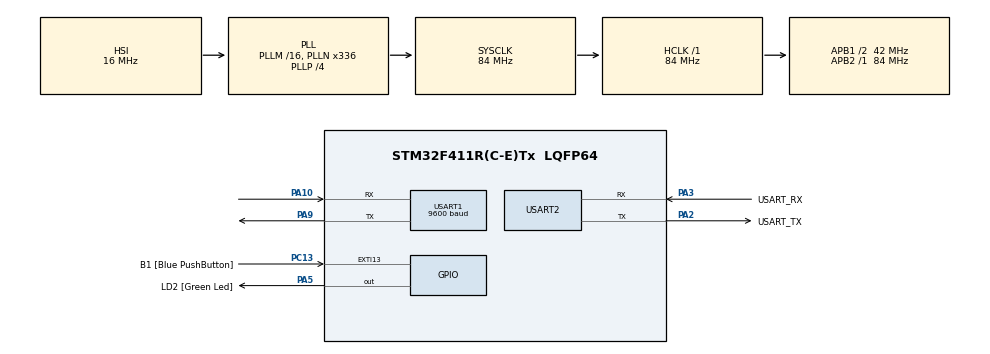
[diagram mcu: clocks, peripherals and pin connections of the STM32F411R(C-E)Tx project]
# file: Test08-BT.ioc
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Mcu.Family=STM32F4
Mcu.Name=STM32F411R(C-E)Tx
Mcu.Package=LQFP64
NVIC.EXTI15_10_IRQn=true\:0\:0\:false\:false\:true\:true\:true\:true
NVIC.PriorityGroup=NVIC_PRIORITYGROUP_0
NVIC.TIM3_IRQn=true\:0\:0\:false\:false\:true\:true\:true\:true
NVIC.USART1_IRQn=true\:0\:0\:false\:false\:true\:true\:true\:true
NVIC.USART2_IRQn=true\:0\:0\:false\:false\:true\:true\:true\:true
PA10.Mode=Asynchronous
PA10.Signal=USART1_RX
PA13.GPIO_Label=TMS
PA13.Mode=Serial_Wire
PA13.Signal=SYS_JTMS-SWDIO
PA14.GPIO_Label=TCK
PA14.Mode=Serial_Wire
PA14.Signal=SYS_JTCK-SWCLK
PA2.GPIO_Label=USART_TX
PA2.Mode=Asynchronous
PA2.Signal=USART2_TX
PA3.GPIO_Label=USART_RX
PA3.Mode=Asynchronous
PA3.Signal=USART2_RX
PA5.GPIO_Label=LD2 [Green Led]
PA5.Signal=GPIO_Output
PA9.Mode=Asynchronous
PA9.Signal=USART1_TX
PB3.GPIO_Label=SWO
PB3.Signal=SYS_JTDO-SWO
PC13-ANTI_TAMP.GPIO_Label=B1 [Blue PushButton]
PC13-ANTI_TAMP.GPIO_ModeDefaultEXTI=GPIO_MODE_IT_FALLING
PC13-ANTI_TAMP.Signal=GPXTI13
PC14-OSC32_IN.Mode=LSE-External-Oscillator
PC14-OSC32_IN.Signal=RCC_OSC32_IN
PC15-OSC32_OUT.Mode=LSE-External-Oscillator
PC15-OSC32_OUT.Signal=RCC_OSC32_OUT
PH0\ -\ OSC_IN.Mode=HSE-External-Clock-Source
PH0\ -\ OSC_IN.Signal=RCC_OSC_IN
PH1\ -\ OSC_OUT.Mode=HSE-External-Clock-Source
PH1\ -\ OSC_OUT.Signal=RCC_OSC_OUT
ProjectManager.HeapSize=0x200
ProjectManager.StackSize=0x400
ProjectManager.TargetToolchain=STM32CubeIDE
RCC.48MHZClocksFreq_Value=84000000
RCC.AHBFreq_Value=84000000
RCC.APB1CLKDivider=RCC_HCLK_DIV2
RCC.APB1Freq_Value=42000000
RCC.APB1TimFreq_Value=84000000
RCC.APB2Freq_Value=84000000
RCC.APB2TimFreq_Value=84000000
RCC.CortexFreq_Value=84000000
RCC.FLatency-AdvancedSettings=FLASH_LATENCY_2
RCC.HCLKFreq_Value=84000000
RCC.HSE_VALUE=8000000
RCC.HSI_VALUE=16000000
RCC.PLLN=336
RCC.PLLP=RCC_PLLP_DIV4
RCC.SYSCLKFreq_VALUE=84000000
RCC.SYSCLKSource=RCC_SYSCLKSOURCE_PLLCLK
RCC.VCOOutputFreq_Value=336000000
TIM3.Period=10000-1
TIM3.Prescaler=8400-1
USART1.BaudRate=9600
USART1.VirtualMode=VM_ASYNC
USART2.VirtualMode=VM_ASYNC
VP_TIM3_VS_ClockSourceINT.Mode=Internal
board=NUCLEO-F411RE

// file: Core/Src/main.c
/* USER CODE BEGIN Header */
/**
  ******************************************************************************
  * @file           : main.c
  * @brief          : Main program body
  ******************************************************************************
  * @attention
  *
  * Copyright (c) 2023 STMicroelectronics.
  * All rights reserved.
  *
  * This software is licensed under terms that can be found in the LICENSE file
  * in the root directory of this software component.
  * If no LICENSE file comes with this software, it is provided AS-IS.
  *
  ******************************************************************************
  */
/* USER CODE END Header */
#include "main.h"

TIM_HandleTypeDef htim3;

UART_HandleTypeDef huart1;
UART_HandleTypeDef huart2;

/* USER CODE BEGIN PV */
#include "..\\..\\..\\Lib\\MyLib.c"

/* USER CODE END PV */

void SystemClock_Config(void);
static void MX_GPIO_Init(void);
static void MX_USART2_UART_Init(void);
static void MX_USART1_UART_Init(void);
static void MX_TIM3_Init(void);

/* USER CODE BEGIN 0 */
char *LE = "";  // "\r\n"  "\n"
char dum1, buf1[256];	// UART1 Input char / buffer
int idx1 = 0;		// UART1 buffer index
char dum2, buf2[256];	// UART2 Input char / buffer
int idx2 = 0;		// UART2 buffer index

void HAL_UART_RxCpltCallback(UART_HandleTypeDef *huart) // Terminal Input Intr
{
	if(huart == &huart2)
	{
		if(dum2 == '\r')  // CR : Enter Key
		{
			HAL_UART_Transmit(&huart1, buf2, idx2, 50);
			HAL_UART_Transmit(&huart1, LE, strlen(LE), 50);
			printf("UART2>%s\r\n", buf2);
			idx2 = 0;
		}
		else
		{
			buf2[idx2++] = dum2; buf2[idx2] = 0;
		}
		HAL_UART_Receive_IT(&huart2, &dum2, 1);
	}
	else if(huart == &huart1)
	{
		buf1[idx1++] = dum1; buf1[idx1] = 0;
		//printf("%c", dum1);  // ?????
		HAL_UART_Receive_IT(&huart1, &dum1, 1);
	}
}
//void HAL_GPIO_EXTI_Callback(uint16_t GPIO_Pin)
void HAL_TIM_PeriodElapsedCallback(TIM_HandleTypeDef *htim)
{
	if(idx1)  // idx1 != 0
	{
		printf("%s\r\n", buf1); idx1 = 0;
	}
}

/* USER CODE END 0 */

int main(void)
{

  /* MCU Configuration--------------------------------------------------------*/

  /* Reset of all peripherals, Initializes the Flash interface and the Systick. */
  HAL_Init();

  /* Configure the system clock */
  SystemClock_Config();

  /* Initialize all configured peripherals */
  MX_GPIO_Init();
  MX_USART2_UART_Init();
  MX_USART1_UART_Init();
  MX_TIM3_Init();
  /* USER CODE BEGIN 2 */

  HAL_UART_Receive_IT(&huart1, &dum1, 1);
  HAL_UART_Receive_IT(&huart2, &dum2, 1);
  HAL_TIM_Base_Start_IT(&htim3);
  printf("Bluetooth Program Started.\r\n");

  /* USER CODE END 2 */

  /* Infinite loop */
  while (1)
  {

  }
}

void SystemClock_Config(void)
{
  RCC_OscInitTypeDef RCC_OscInitStruct = {0};
  RCC_ClkInitTypeDef RCC_ClkInitStruct = {0};

  /** Configure the main internal regulator output voltage
  */
  __HAL_RCC_PWR_CLK_ENABLE();
  __HAL_PWR_VOLTAGESCALING_CONFIG(PWR_REGULATOR_VOLTAGE_SCALE1);

  /** Initializes the RCC Oscillators according to the specified parameters
  * in the RCC_OscInitTypeDef structure.
  */
  RCC_OscInitStruct.OscillatorType = RCC_OSCILLATORTYPE_HSI;
  RCC_OscInitStruct.HSIState = RCC_HSI_ON;
  RCC_OscInitStruct.HSICalibrationValue = RCC_HSICALIBRATION_DEFAULT;
  RCC_OscInitStruct.PLL.PLLState = RCC_PLL_ON;
  RCC_OscInitStruct.PLL.PLLSource = RCC_PLLSOURCE_HSI;
  RCC_OscInitStruct.PLL.PLLM = 16;
  RCC_OscInitStruct.PLL.PLLN = 336;
  RCC_OscInitStruct.PLL.PLLP = RCC_PLLP_DIV4;
  RCC_OscInitStruct.PLL.PLLQ = 4;
  if (HAL_RCC_OscConfig(&RCC_OscInitStruct) != HAL_OK)
  {
    Error_Handler();
  }

  /** Initializes the CPU, AHB and APB buses clocks
  */
  RCC_ClkInitStruct.ClockType = RCC_CLOCKTYPE_HCLK|RCC_CLOCKTYPE_SYSCLK
                              |RCC_CLOCKTYPE_PCLK1|RCC_CLOCKTYPE_PCLK2;
  RCC_ClkInitStruct.SYSCLKSource = RCC_SYSCLKSOURCE_PLLCLK;
  RCC_ClkInitStruct.AHBCLKDivider = RCC_SYSCLK_DIV1;
  RCC_ClkInitStruct.APB1CLKDivider = RCC_HCLK_DIV2;
  RCC_ClkInitStruct.APB2CLKDivider = RCC_HCLK_DIV1;

  if (HAL_RCC_ClockConfig(&RCC_ClkInitStruct, FLASH_LATENCY_2) != HAL_OK)
  {
    Error_Handler();
  }
}

static void MX_TIM3_Init(void)
{

  TIM_ClockConfigTypeDef sClockSourceConfig = {0};
  TIM_MasterConfigTypeDef sMasterConfig = {0};

  htim3.Instance = TIM3;
  htim3.Init.Prescaler = 8400-1;
  htim3.Init.CounterMode = TIM_COUNTERMODE_UP;
  htim3.Init.Period = 10000-1;
  htim3.Init.ClockDivision = TIM_CLOCKDIVISION_DIV1;
  htim3.Init.AutoReloadPreload = TIM_AUTORELOAD_PRELOAD_DISABLE;
  if (HAL_TIM_Base_Init(&htim3) != HAL_OK)
  {
    Error_Handler();
  }
  sClockSourceConfig.ClockSource = TIM_CLOCKSOURCE_INTERNAL;
  if (HAL_TIM_ConfigClockSource(&htim3, &sClockSourceConfig) != HAL_OK)
  {
    Error_Handler();
  }
  sMasterConfig.MasterOutputTrigger = TIM_TRGO_RESET;
  sMasterConfig.MasterSlaveMode = TIM_MASTERSLAVEMODE_DISABLE;
  if (HAL_TIMEx_MasterConfigSynchronization(&htim3, &sMasterConfig) != HAL_OK)
  {
    Error_Handler();
  }

}

static void MX_USART1_UART_Init(void)
{

  huart1.Instance = USART1;
  huart1.Init.BaudRate = 9600;
  huart1.Init.WordLength = UART_WORDLENGTH_8B;
  huart1.Init.StopBits = UART_STOPBITS_1;
  huart1.Init.Parity = UART_PARITY_NONE;
  huart1.Init.Mode = UART_MODE_TX_RX;
  huart1.Init.HwFlowCtl = UART_HWCONTROL_NONE;
  huart1.Init.OverSampling = UART_OVERSAMPLING_16;
  if (HAL_UART_Init(&huart1) != HAL_OK)
  {
    Error_Handler();
  }

}

static void MX_USART2_UART_Init(void)
{

  huart2.Instance = USART2;
  huart2.Init.BaudRate = 115200;
  huart2.Init.WordLength = UART_WORDLENGTH_8B;
  huart2.Init.StopBits = UART_STOPBITS_1;
  huart2.Init.Parity = UART_PARITY_NONE;
  huart2.Init.Mode = UART_MODE_TX_RX;
  huart2.Init.HwFlowCtl = UART_HWCONTROL_NONE;
  huart2.Init.OverSampling = UART_OVERSAMPLING_16;
  if (HAL_UART_Init(&huart2) != HAL_OK)
  {
    Error_Handler();
  }

}

static void MX_GPIO_Init(void)
{
  GPIO_InitTypeDef GPIO_InitStruct = {0};

  /* GPIO Ports Clock Enable */
  __HAL_RCC_GPIOC_CLK_ENABLE();
  __HAL_RCC_GPIOH_CLK_ENABLE();
  __HAL_RCC_GPIOA_CLK_ENABLE();
  __HAL_RCC_GPIOB_CLK_ENABLE();

  /*Configure GPIO pin Output Level */
  HAL_GPIO_WritePin(LD2_GPIO_Port, LD2_Pin, GPIO_PIN_RESET);

  /*Configure GPIO pin : B1_Pin */
  GPIO_InitStruct.Pin = B1_Pin;
  GPIO_InitStruct.Mode = GPIO_MODE_IT_FALLING;
  GPIO_InitStruct.Pull = GPIO_NOPULL;
  HAL_GPIO_Init(B1_GPIO_Port, &GPIO_InitStruct);

  /*Configure GPIO pin : LD2_Pin */
  GPIO_InitStruct.Pin = LD2_Pin;
  GPIO_InitStruct.Mode = GPIO_MODE_OUTPUT_PP;
  GPIO_InitStruct.Pull = GPIO_NOPULL;
  GPIO_InitStruct.Speed = GPIO_SPEED_FREQ_LOW;
  HAL_GPIO_Init(LD2_GPIO_Port, &GPIO_InitStruct);

  /* EXTI interrupt init*/
  HAL_NVIC_SetPriority(EXTI15_10_IRQn, 0, 0);
  HAL_NVIC_EnableIRQ(EXTI15_10_IRQn);

}

void Error_Handler(void)
{
  __disable_irq();
  while (1)
  {
  }
}
